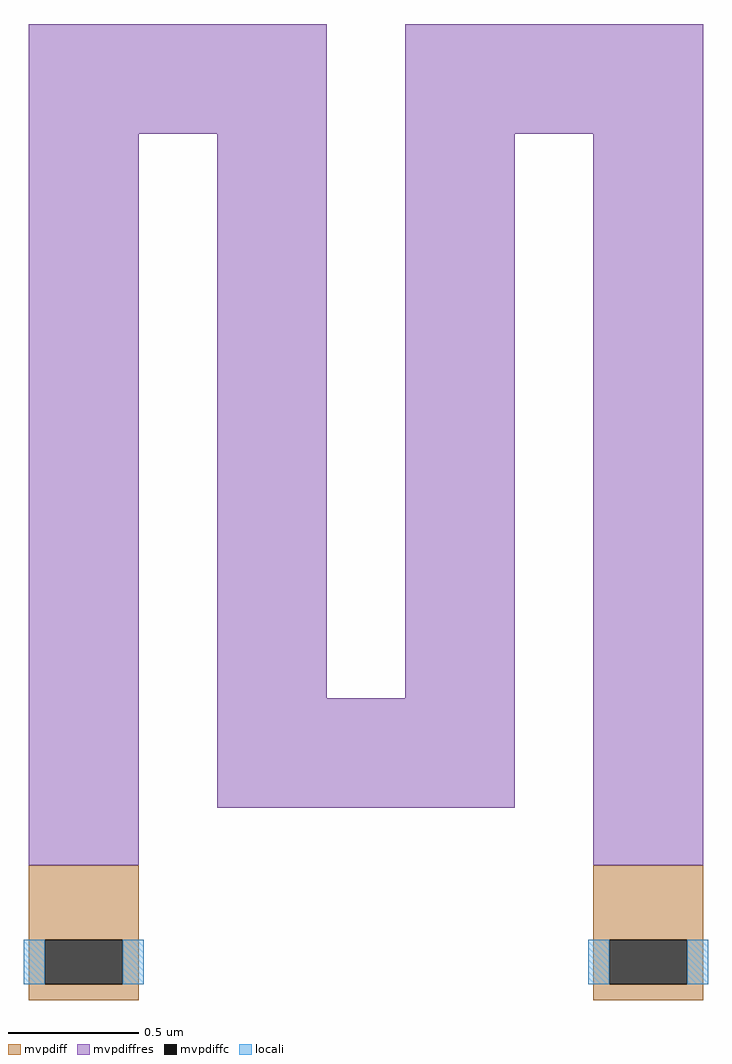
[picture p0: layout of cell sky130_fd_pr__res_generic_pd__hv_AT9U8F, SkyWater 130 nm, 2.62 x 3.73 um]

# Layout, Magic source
magic
tech sky130A
magscale 1 2
<< mvpdiff >>
rect -258 -327 -174 -270
rect -258 -361 -246 -327
rect -186 -361 -174 -327
rect -258 -373 -174 -361
rect 174 -327 258 -270
rect 174 -361 186 -327
rect 246 -361 258 -327
rect 174 -373 258 -361
<< mvpdiffc >>
rect -246 -361 -186 -327
rect 186 -361 246 -327
<< mvpdiffres >>
rect -258 290 -30 374
rect -258 -270 -174 290
rect -114 -142 -30 290
rect 30 290 258 374
rect 30 -142 114 290
rect -114 -226 114 -142
rect 174 -270 258 290
<< locali >>
rect -262 -361 -246 -327
rect -186 -361 -170 -327
rect 170 -361 186 -327
rect 246 -361 262 -327
<< properties >>
string gencell sky130_fd_pr__res_generic_pd__hv
string library sky130
string parameters w 0.42 l 3.0 m 1 nx 4 wmin 0.42 lmin 2.10 rho 197 val 7.387k dummy 0 dw 0.02 term 0.0 sterm 0.0 caplen 0.60 snake 1 guard 0 glc 1 grc 1 gtc 1 gbc 1 roverlap 0 endcov 100 full_metal 1 vias 1 viagb 0 viagt 0 viagl 0 viagr 0
<< end >>
